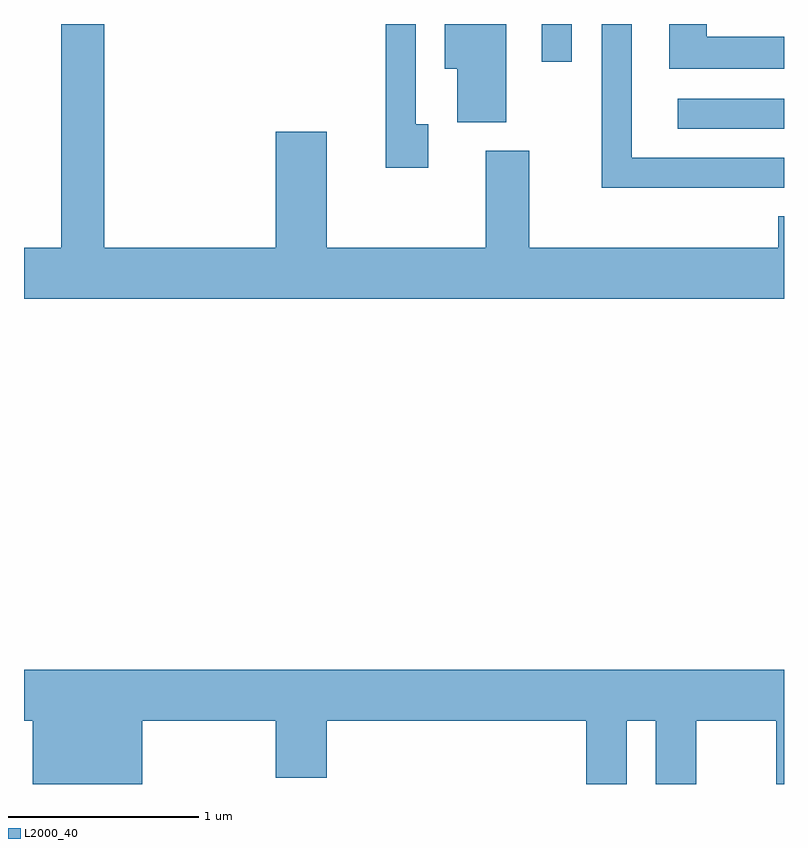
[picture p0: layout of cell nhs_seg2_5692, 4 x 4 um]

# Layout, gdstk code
import gdstk
lib = gdstk.Library(unit=1e-6, precision=1e-09)
def R(c, l, rs):  # rectangles x0, y0, x1, y1
    for r in rs: c.add(gdstk.rectangle(r[:2], r[2:], *l))
def P(c, l, *ps):  # polygons
    for p in ps: c.add(gdstk.Polygon(p, *l))
L2000_40 = (2000, 40)

nhs_seg2_5692 = lib.new_cell('nhs_seg2_5692')
R(nhs_seg2_5692, L2000_40, [(357.053,1009.251,357.611,1009.409), (356.336,1009.603,356.494,1009.802)])
P(nhs_seg2_5692, L2000_40, [(357.611,1008.789),(357.581,1008.789),(357.581,1008.624),(356.269,1008.624),(356.269,1009.134),(356.041,1009.134),(356.041,1008.624),(355.204,1008.624),(355.204,1009.234),(354.936,1009.234),(354.936,1008.624),(354.034,1008.624),(354.034,1009.802),(353.806,1009.802),(353.806,1008.624),(353.611,1008.624),(353.611,1008.356),(357.611,1008.356)],
  [(355.739,1009.274),(355.674,1009.274),(355.674,1009.802),(355.516,1009.802),(355.516,1009.046),(355.739,1009.046)],
  [(357.611,1009.734),(357.204,1009.734),(357.204,1009.802),(357.006,1009.802),(357.006,1009.566),(357.611,1009.566)],
  [(356.149,1009.802),(355.826,1009.802),(355.826,1009.566),(355.891,1009.566),(355.891,1009.286),(356.149,1009.286)],
  [(357.611,1009.099),(356.809,1009.099),(356.809,1009.802),(356.651,1009.802),(356.651,1008.941),(357.611,1008.941)],
  [(354.234,1006.136),(354.936,1006.136),(354.936,1005.836),(355.204,1005.836),(355.204,1006.136),(356.571,1006.136),(356.571,1005.802),(356.784,1005.802),(356.784,1006.136),(356.936,1006.136),(356.936,1005.802),(357.149,1005.802),(357.149,1006.136),(357.571,1006.136),(357.571,1005.802),(357.611,1005.802),(357.611,1006.404),(353.611,1006.404),(353.611,1006.136),(353.656,1006.136),(353.656,1005.802),(354.234,1005.802)])

lib.write_gds('nhs_seg2_5692.gds')
